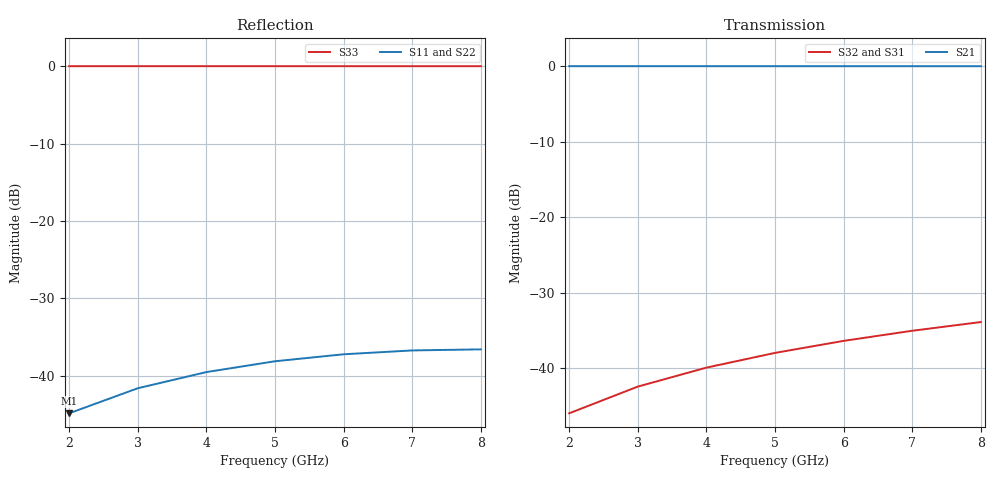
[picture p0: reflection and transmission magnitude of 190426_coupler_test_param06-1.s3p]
! Sonnet Data File
! From: emgraph Version : 16.56
! From Project: 190426_coupler_test
! Data is De-embedded
! Data File Written: 05/06/2019 15:59:44
!< HDATE 04/25/2019 10:48:44
!< MDATE 04/25/2019 10:59:35
!< PARAMS
!< tandelta = 0.0
!< t_aSi = 0.25
!< W = 10.0
!< Lcoupler = 500.0
!< END PARAMS
# GHZ S MA R 50.0 !  non standard terminations in data
! TERM 50.00000 0.000000 50.00000 0.000000 63.84000 0.000000
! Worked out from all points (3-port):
!   7 points, 2 GHz to 8 GHz, reference 50 ohm
!   strongest paths, dB at 2 GHz, 3 GHz, 5 GHz, 7 GHz, 8 GHz:
!     S21: 0.0, 0.0, 0.0, 0.0, 0.0
!     S32: -46.0, -42.5, -38.0, -35.0, -33.9
!     S31: -46.0, -42.5, -38.1, -35.2, -34.0
!   lowest |S11| = -44.8 dB at 2 GHz (marker M1), VSWR 1.01, Z = 50.2 + j0.526 ohm
!   |S11| at or under -10 dB: start of sweep to end of sweep
2  0.005735 65.9  1 -21.6  0.005011 63.8
   1 -21.6  0.005727 71.1  0.00502 85.9
   0.005011 63.8  0.00502 85.9  1 -8.9
3  0.008323 53.7  0.9999 -32.5  0.007512 50.7
   0.9999 -32.5  0.008296 61.7  0.007542 83.8
   0.007512 50.7  0.007542 83.8  0.9999 -13.4
4  0.01059 41.5  0.9999 -43.3  0.01001 37.6
   0.9999 -43.3  0.01052 52.3  0.01007 81.7
   0.01001 37.6  0.01007 81.7  0.9999 -17.9
5  0.01243 29.2  0.9998 -54.1  0.0125 24.6
   0.9998 -54.1  0.01232 43.0  0.01261 79.5
   0.0125 24.6  0.01261 79.5  0.9998 -22.3
6  0.01379 16.7  0.9998 -65.0  0.01498 11.5
   0.9998 -65.0  0.0136 33.9  0.01515 77.2
   0.01498 11.5  0.01515 77.2  0.9998 -26.8
7  0.01461 4.0  0.9997 -75.8  0.01745 -1.6
   0.9997 -75.8  0.01433 24.9  0.01768 74.9
   0.01745 -1.6  0.01768 74.9  0.9997 -31.2
8  0.01484 -9.0  0.9997 -86.6  0.01991 -14.7
   0.9997 -86.6  0.01445 16.2  0.02019 72.6
   0.01991 -14.7  0.02019 72.6  0.9996 -35.7
